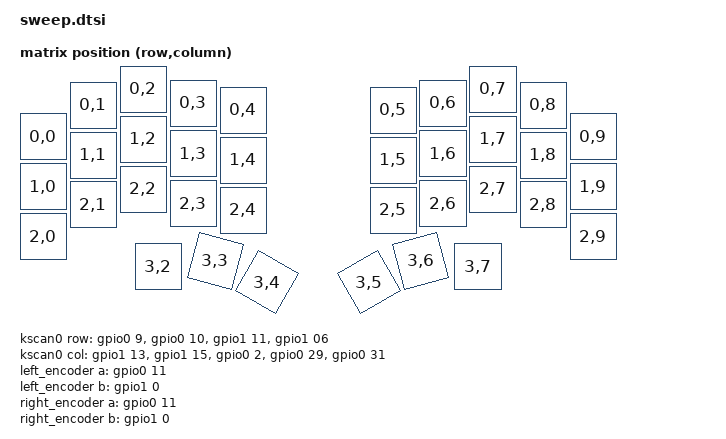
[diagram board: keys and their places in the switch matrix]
#include <dt-bindings/zmk/matrix_transform.h>
#include <physical_layouts.dtsi>

/ {
	kscan0: kscan0 {
		compatible = "zmk,kscan-gpio-matrix";
		diode-direction = "col2row";
		wakeup-source;
		row-gpios = <&gpio0 9 (GPIO_ACTIVE_HIGH | GPIO_PULL_DOWN)>,
		<&gpio0 10 (GPIO_ACTIVE_HIGH | GPIO_PULL_DOWN)>,
		<&gpio1 11 (GPIO_ACTIVE_HIGH | GPIO_PULL_DOWN)>,
		<&gpio1 06 (GPIO_ACTIVE_HIGH | GPIO_PULL_DOWN)>;
		col-gpios
		= <&gpio1 13 GPIO_PULL_DOWN>
		, <&gpio1 15 GPIO_PULL_DOWN>
		, <&gpio0 2 GPIO_PULL_DOWN>
		, <&gpio0 29 GPIO_PULL_DOWN>
		, <&gpio0 31 GPIO_PULL_DOWN>
		;
	};
	
	default_transform: keymap_transform_0 {
		compatible = "zmk,matrix-transform";
		columns = <10>;
		rows = <4>;
		map = <
		RC(0,0) RC(0,1) RC(0,2) RC(0,3) RC(0,4)     RC(0,5) RC(0,6) RC(0,7) RC(0,8) RC(0,9)
		RC(1,0) RC(1,1) RC(1,2) RC(1,3) RC(1,4)     RC(1,5) RC(1,6) RC(1,7) RC(1,8) RC(1,9)
		RC(2,0) RC(2,1) RC(2,2) RC(2,3) RC(2,4)     RC(2,5) RC(2,6) RC(2,7) RC(2,8) RC(2,9)
		RC(3,2) RC(3,3) RC(3,4)     RC(3,5) RC(3,6) RC(3,7)
		>;
	};
	
	physical_layout0: physical_layout_0 {// First physical layout, use different naming for other layouts
		compatible = "zmk,physical-layout";
		display-name = "Default Layout";
		transform = <&default_transform>;// Label of the matrix transform for this layout
		kscan = <&kscan0>;// Label of the kscan node
		keys//                     w   h    x    y     rot    rx    ry
		= <&key_physical_attrs 100 100    0   95       0     0     0>
		, <&key_physical_attrs 100 100  100   32       0     0     0>
		, <&key_physical_attrs 100 100  200    0       0     0     0>
		, <&key_physical_attrs 100 100  300   28       0     0     0>
		, <&key_physical_attrs 100 100  400   42       0     0     0>
		, <&key_physical_attrs 100 100  700   42       0     0     0>
		, <&key_physical_attrs 100 100  800   28       0     0     0>
		, <&key_physical_attrs 100 100  900    0       0     0     0>
		, <&key_physical_attrs 100 100 1000   32       0     0     0>
		, <&key_physical_attrs 100 100 1100   95       0     0     0>
		, <&key_physical_attrs 100 100    0  195       0     0     0>
		, <&key_physical_attrs 100 100  100  132       0     0     0>
		, <&key_physical_attrs 100 100  200  100       0     0     0>
		, <&key_physical_attrs 100 100  300  129       0     0     0>
		, <&key_physical_attrs 100 100  400  142       0     0     0>
		, <&key_physical_attrs 100 100  700  142       0     0     0>
		, <&key_physical_attrs 100 100  800  129       0     0     0>
		, <&key_physical_attrs 100 100  900  100       0     0     0>
		, <&key_physical_attrs 100 100 1000  132       0     0     0>
		, <&key_physical_attrs 100 100 1100  195       0     0     0>
		, <&key_physical_attrs 100 100    0  295       0     0     0>
		, <&key_physical_attrs 100 100  100  231       0     0     0>
		, <&key_physical_attrs 100 100  200  200       0     0     0>
		, <&key_physical_attrs 100 100  300  229       0     0     0>
		, <&key_physical_attrs 100 100  400  242       0     0     0>
		, <&key_physical_attrs 100 100  700  242       0     0     0>
		, <&key_physical_attrs 100 100  800  229       0     0     0>
		, <&key_physical_attrs 100 100  900  200       0     0     0>
		, <&key_physical_attrs 100 100 1000  231       0     0     0>
		, <&key_physical_attrs 100 100 1100  295       0     0     0>
		, <&key_physical_attrs 100 100  230  355       0   430   455>
		, <&key_physical_attrs 100 100  330  355    1500   430   455>
		, <&key_physical_attrs 100 100  430  355    3000   430   455>
		, <&key_physical_attrs 100 100  670  355 (-3000)   770   455>
		, <&key_physical_attrs 100 100  770  355 (-1500)   770   455>
		, <&key_physical_attrs 100 100  870  355       0   770   455>
		;
	};
	
	left_encoder: left_encoder {
		compatible = "alps,ec11";
		a-gpios = <&gpio0 11 (GPIO_ACTIVE_HIGH | GPIO_PULL_UP)>;
		b-gpios = <&gpio1 0 (GPIO_ACTIVE_HIGH | GPIO_PULL_UP)>;
		steps = <15>;
		status = "disabled";
	};
	
	right_encoder: right_encoder {
		compatible = "alps,ec11";
		a-gpios = <&gpio0 11 (GPIO_ACTIVE_HIGH | GPIO_PULL_UP)>;
		b-gpios = <&gpio1 0 (GPIO_ACTIVE_HIGH | GPIO_PULL_UP)>;
		steps = <15>;
		status = "disabled";
	};
	
	sensors: sensors {
		compatible = "zmk,keymap-sensors";
		sensors = <&left_encoder &right_encoder>;
	};
	
	
	chosen {
		zmk,physical-layout = &physical_layout0;
	};
};

/ {
	keys {
		compatible = "gpio-keys";
		soft_off_gpio_key: soft_off_gpio_key {
			gpios = <&gpio0 24 (GPIO_ACTIVE_HIGH | GPIO_PULL_DOWN)>;
		};
	};
};

/ {
	wakeup_scan: wakeup_scan {
		compatible = "zmk,gpio-key-wakeup-trigger";
		trigger = <&soft_off_gpio_key>;
		wakeup-source;
		extra-gpios = <&gpio1 13 GPIO_ACTIVE_HIGH>;
	};
};

/ {
	soft_off_wakers {
		compatible = "zmk,soft-off-wakeup-sources";
		wakeup-sources = <&wakeup_scan>;
	};
};

/ {
	split_inputs {
		#address-cells = <1>;
		#size-cells = <0>;
		
		glidepoint_split: glidepoint_split@0 {
			compatible = "zmk,input-split";
			reg = <0>;
		};
	};
	glidepoint_listener: glidepoint_listener {
		compatible = "zmk,input-listener";
		status = "disabled";
		device = <&glidepoint_split>;
	};
};

